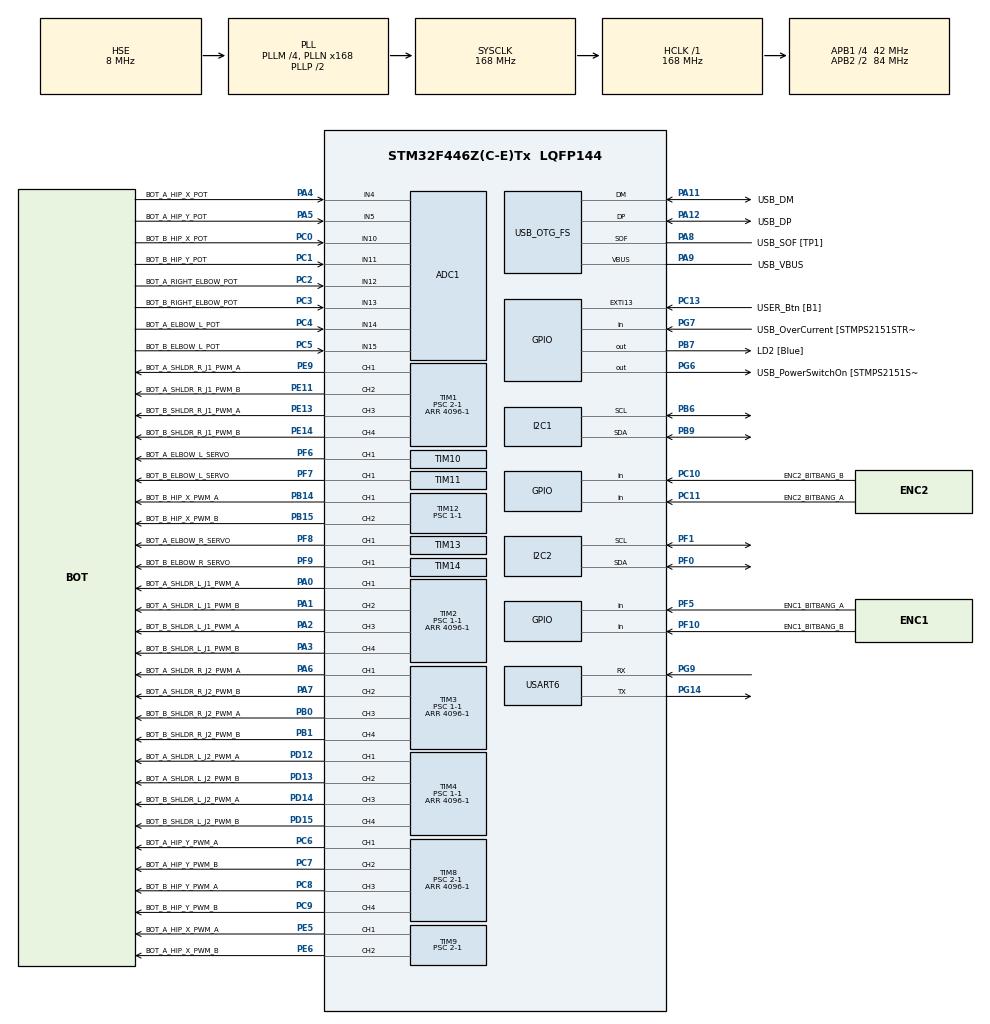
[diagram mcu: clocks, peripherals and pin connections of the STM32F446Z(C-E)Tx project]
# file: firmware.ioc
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ADC1.Channel-2\#ChannelRegularConversion=ADC_CHANNEL_10
ADC1.NbrOfConversion=1
ADC1.NbrOfConversionFlag=1
ADC1.Rank-2\#ChannelRegularConversion=1
ADC1.SamplingTime-2\#ChannelRegularConversion=ADC_SAMPLETIME_3CYCLES
ADC1.master=1
I2C1.I2C_Mode=I2C_Fast
I2C2.I2C_Mode=I2C_Fast
Mcu.Family=STM32F4
Mcu.Name=STM32F446Z(C-E)Tx
Mcu.Package=LQFP144
NVIC.OTG_FS_IRQn=true\:0\:0\:false\:false\:true\:false\:true
NVIC.PriorityGroup=NVIC_PRIORITYGROUP_4
PA0-WKUP.GPIO_Label=BOT_A_SHLDR_L_J1_PWM_A
PA0-WKUP.Signal=S_TIM2_CH1_ETR
PA1.GPIO_Label=BOT_A_SHLDR_L_J1_PWM_B
PA1.Signal=S_TIM2_CH2
PA10.GPIO_Label=USB_ID
PA10.Signal=USB_OTG_FS_ID
PA11.GPIO_Label=USB_DM
PA11.Mode=Device_Only
PA11.Signal=USB_OTG_FS_DM
PA12.GPIO_Label=USB_DP
PA12.Mode=Device_Only
PA12.Signal=USB_OTG_FS_DP
PA13.GPIO_Label=TMS
PA13.Mode=Serial_Wire
PA13.Signal=SYS_JTMS-SWDIO
PA14.GPIO_Label=TCK
PA14.Mode=Serial_Wire
PA14.Signal=SYS_JTCK-SWCLK
PA2.GPIO_Label=BOT_B_SHLDR_L_J1_PWM_A
PA2.Signal=S_TIM2_CH3
PA3.GPIO_Label=BOT_B_SHLDR_L_J1_PWM_B
PA3.Signal=S_TIM2_CH4
PA4.GPIO_Label=BOT_A_HIP_X_POT
PA4.Signal=ADCx_IN4
PA5.GPIO_Label=BOT_A_HIP_Y_POT
PA5.Signal=ADCx_IN5
PA6.GPIO_Label=BOT_A_SHLDR_R_J2_PWM_A
PA6.Signal=S_TIM3_CH1
PA7.GPIO_Label=BOT_A_SHLDR_R_J2_PWM_B
PA7.Signal=S_TIM3_CH2
PA8.GPIO_Label=USB_SOF [TP1]
PA8.Mode=Activate_SOF_FS
PA8.Signal=USB_OTG_FS_SOF
PA9.GPIO_Label=USB_VBUS
PA9.Mode=Activate_VBUS
PA9.Signal=USB_OTG_FS_VBUS
PB0.GPIO_Label=BOT_B_SHLDR_R_J2_PWM_A
PB0.Signal=S_TIM3_CH3
PB1.GPIO_Label=BOT_B_SHLDR_R_J2_PWM_B
PB1.Signal=S_TIM3_CH4
PB14.GPIO_Label=BOT_B_HIP_X_PWM_A
PB14.Signal=S_TIM12_CH1
PB15.GPIO_Label=BOT_B_HIP_X_PWM_B
PB15.Signal=S_TIM12_CH2
PB6.Mode=I2C
PB6.Signal=I2C1_SCL
PB7.GPIO_Label=LD2 [Blue]
PB7.Signal=GPIO_Output
PB9.Mode=I2C
PB9.Signal=I2C1_SDA
PC0.GPIO_Label=BOT_B_HIP_X_POT
PC0.Signal=ADCx_IN10
PC1.GPIO_Label=BOT_B_HIP_Y_POT
PC1.Signal=ADCx_IN11
PC10.GPIO_Label=ENC2_BITBANG_B
PC10.Signal=GPIO_Input
PC11.GPIO_Label=ENC2_BITBANG_A
PC11.Signal=GPIO_Input
PC13.GPIO_Label=USER_Btn [B1]
PC13.Signal=GPXTI13
PC14-OSC32_IN.Mode=LSE-External-Oscillator
PC14-OSC32_IN.Signal=RCC_OSC32_IN
PC15-OSC32_OUT.Mode=LSE-External-Oscillator
PC15-OSC32_OUT.Signal=RCC_OSC32_OUT
PC2.GPIO_Label=BOT_A_RIGHT_ELBOW_POT
PC2.Signal=ADCx_IN12
PC3.GPIO_Label=BOT_B_RIGHT_ELBOW_POT
PC3.Signal=ADCx_IN13
PC4.GPIO_Label=BOT_A_ELBOW_L_POT
PC4.Signal=ADCx_IN14
PC5.GPIO_Label=BOT_B_ELBOW_L_POT
PC5.Signal=ADCx_IN15
PC6.GPIO_Label=BOT_A_HIP_Y_PWM_A
PC6.Signal=S_TIM8_CH1
PC7.GPIO_Label=BOT_A_HIP_Y_PWM_B
PC7.Signal=S_TIM8_CH2
PC8.GPIO_Label=BOT_B_HIP_Y_PWM_A
PC8.Signal=S_TIM8_CH3
PC9.GPIO_Label=BOT_B_HIP_Y_PWM_B
PC9.Signal=S_TIM8_CH4
PD12.GPIO_Label=BOT_A_SHLDR_L_J2_PWM_A
PD12.Signal=S_TIM4_CH1
PD13.GPIO_Label=BOT_A_SHLDR_L_J2_PWM_B
PD13.Signal=S_TIM4_CH2
PD14.GPIO_Label=BOT_B_SHLDR_L_J2_PWM_A
PD14.Signal=S_TIM4_CH3
PD15.GPIO_Label=BOT_B_SHLDR_L_J2_PWM_B
PD15.Signal=S_TIM4_CH4
PE11.GPIO_Label=BOT_A_SHLDR_R_J1_PWM_B
PE11.Signal=S_TIM1_CH2
PE13.GPIO_Label=BOT_B_SHLDR_R_J1_PWM_A
PE13.Signal=S_TIM1_CH3
PE14.GPIO_Label=BOT_B_SHLDR_R_J1_PWM_B
PE14.Signal=S_TIM1_CH4
PE5.GPIO_Label=BOT_A_HIP_X_PWM_A
PE5.Signal=S_TIM9_CH1
PE6.GPIO_Label=BOT_A_HIP_X_PWM_B
PE6.Signal=S_TIM9_CH2
PE9.GPIO_Label=BOT_A_SHLDR_R_J1_PWM_A
PE9.Signal=S_TIM1_CH1
PF0.Mode=I2C
PF0.Signal=I2C2_SDA
PF1.Mode=I2C
PF1.Signal=I2C2_SCL
PF10.GPIO_Label=ENC1_BITBANG_B
PF10.Signal=GPIO_Input
PF5.GPIO_Label=ENC1_BITBANG_A
PF5.Signal=GPIO_Input
PF6.GPIO_Label=BOT_A_ELBOW_L_SERVO
PF6.Signal=S_TIM10_CH1
PF7.GPIO_Label=BOT_B_ELBOW_L_SERVO
PF7.Signal=S_TIM11_CH1
PF8.GPIO_Label=BOT_A_ELBOW_R_SERVO
PF8.Signal=S_TIM13_CH1
PF9.GPIO_Label=BOT_B_ELBOW_R_SERVO
PF9.Signal=S_TIM14_CH1
PG14.Mode=Asynchronous
PG14.Signal=USART6_TX
PG6.GPIO_Label=USB_PowerSwitchOn [STMPS2151STR_EN]
PG6.Signal=GPIO_Output
PG7.GPIO_Label=USB_OverCurrent [STMPS2151STR_FAULT]
PG7.Signal=GPIO_Input
PG9.Mode=Asynchronous
PG9.Signal=USART6_RX
PH0-OSC_IN.GPIO_Label=MCO [STM32F103CBT6_PA8]
PH0-OSC_IN.Mode=HSE-External-Clock-Source
PH0-OSC_IN.Signal=RCC_OSC_IN
PH1-OSC_OUT.Mode=HSE-External-Clock-Source
PH1-OSC_OUT.Signal=RCC_OSC_OUT
ProjectManager.HeapSize=0x200
ProjectManager.StackSize=0x400
ProjectManager.TargetToolchain=SW4STM32
RCC.48MHZClocksFreq_Value=24000000
RCC.AHBFreq_Value=168000000
RCC.APB1CLKDivider=RCC_HCLK_DIV4
RCC.APB1Freq_Value=42000000
RCC.APB1TimFreq_Value=84000000
RCC.APB2CLKDivider=RCC_HCLK_DIV2
RCC.APB2Freq_Value=84000000
RCC.APB2TimFreq_Value=168000000
RCC.CortexFreq_Value=168000000
RCC.HCLKFreq_Value=168000000
RCC.HSE_VALUE=8000000
RCC.HSI_VALUE=16000000
RCC.PLLM=4
RCC.PLLMUL=RCC_PLL_MUL9
RCC.PLLN=168
RCC.PLLQ=7
RCC.PRESCALERUSB=RCC_USBCLKSOURCE_PLL_DIV1_5
RCC.SYSCLKFreq_VALUE=168000000
RCC.SYSCLKSource=RCC_SYSCLKSOURCE_PLLCLK
RCC.SYSCLKSourceVirtual=RCC_SYSCLKSOURCE_PLLCLK
RCC.USBFreq_Value=48000000
RCC.VCOOutputFreq_Value=336000000
SH.ADCx_IN10.0=ADC1_IN10,IN10
SH.ADCx_IN11.0=ADC1_IN11,IN11
SH.ADCx_IN12.0=ADC1_IN12,IN12
SH.ADCx_IN13.0=ADC1_IN13,IN13
SH.ADCx_IN14.0=ADC1_IN14,IN14
SH.ADCx_IN15.0=ADC1_IN15,IN15
SH.ADCx_IN4.0=ADC1_IN4,IN4
SH.ADCx_IN5.0=ADC1_IN5,IN5
SH.S_TIM10_CH1.0=TIM10_CH1,PWM Generation1 CH1
SH.S_TIM11_CH1.0=TIM11_CH1,PWM Generation1 CH1
SH.S_TIM12_CH1.0=TIM12_CH1,PWM Generation1 CH1
SH.S_TIM12_CH2.0=TIM12_CH2,PWM Generation2 CH2
SH.S_TIM13_CH1.0=TIM13_CH1,PWM Generation1 CH1
SH.S_TIM14_CH1.0=TIM14_CH1,PWM Generation1 CH1
SH.S_TIM1_CH1.0=TIM1_CH1,PWM Generation1 CH1
SH.S_TIM1_CH2.0=TIM1_CH2,PWM Generation2 CH2
SH.S_TIM1_CH3.0=TIM1_CH3,PWM Generation3 CH3
SH.S_TIM1_CH4.0=TIM1_CH4,PWM Generation4 CH4
SH.S_TIM2_CH1_ETR.0=TIM2_CH1,PWM Generation1 CH1
SH.S_TIM2_CH2.0=TIM2_CH2,PWM Generation2 CH2
SH.S_TIM2_CH3.0=TIM2_CH3,PWM Generation3 CH3
SH.S_TIM2_CH4.0=TIM2_CH4,PWM Generation4 CH4
SH.S_TIM3_CH1.0=TIM3_CH1,PWM Generation1 CH1
SH.S_TIM3_CH2.0=TIM3_CH2,PWM Generation2 CH2
SH.S_TIM3_CH3.0=TIM3_CH3,PWM Generation3 CH3
SH.S_TIM3_CH4.0=TIM3_CH4,PWM Generation4 CH4
SH.S_TIM4_CH1.0=TIM4_CH1,PWM Generation1 CH1
SH.S_TIM4_CH2.0=TIM4_CH2,PWM Generation2 CH2
SH.S_TIM4_CH3.0=TIM4_CH3,PWM Generation3 CH3
SH.S_TIM4_CH4.0=TIM4_CH4,PWM Generation4 CH4
SH.S_TIM8_CH1.0=TIM8_CH1,PWM Generation1 CH1
SH.S_TIM8_CH2.0=TIM8_CH2,PWM Generation2 CH2
SH.S_TIM8_CH3.0=TIM8_CH3,PWM Generation3 CH3
SH.S_TIM8_CH4.0=TIM8_CH4,PWM Generation4 CH4
SH.S_TIM9_CH1.0=TIM9_CH1,PWM Generation1 CH1
SH.S_TIM9_CH2.0=TIM9_CH2,PWM Generation2 CH2
TIM1.Channel-PWM\ Generation1\ CH1=TIM_CHANNEL_1
TIM1.Channel-PWM\ Generation2\ CH2=TIM_CHANNEL_2
TIM1.Channel-PWM\ Generation3\ CH3=TIM_CHANNEL_3
TIM1.Channel-PWM\ Generation4\ CH4=TIM_CHANNEL_4
TIM1.Period=4096-1
TIM1.Prescaler=2-1
TIM10.Channel=TIM_CHANNEL_1
TIM10.Period=16384-1
TIM10.Prescaler=204-1
TIM11.Channel=TIM_CHANNEL_1
TIM11.Period=16384-1
TIM11.Prescaler=204-1
TIM12.Channel-PWM\ Generation1\ CH1=TIM_CHANNEL_1
TIM12.Channel-PWM\ Generation2\ CH2=TIM_CHANNEL_2
TIM12.Period=4096-1
TIM12.Prescaler=1-1
TIM13.Channel=TIM_CHANNEL_1
TIM13.Period=16384-1
TIM13.Prescaler=102-1
TIM14.Channel=TIM_CHANNEL_1
TIM14.Period=16384-1
TIM14.Prescaler=102-1
TIM2.Channel-PWM\ Generation1\ CH1=TIM_CHANNEL_1
TIM2.Channel-PWM\ Generation2\ CH2=TIM_CHANNEL_2
TIM2.Channel-PWM\ Generation3\ CH3=TIM_CHANNEL_3
TIM2.Channel-PWM\ Generation4\ CH4=TIM_CHANNEL_4
TIM2.Period=4096-1
TIM2.Prescaler=1-1
TIM3.Channel-PWM\ Generation1\ CH1=TIM_CHANNEL_1
TIM3.Channel-PWM\ Generation2\ CH2=TIM_CHANNEL_2
TIM3.Channel-PWM\ Generation3\ CH3=TIM_CHANNEL_3
TIM3.Channel-PWM\ Generation4\ CH4=TIM_CHANNEL_4
TIM3.Period=4096-1
TIM3.Prescaler=1-1
TIM4.Channel-PWM\ Generation1\ CH1=TIM_CHANNEL_1
TIM4.Channel-PWM\ Generation2\ CH2=TIM_CHANNEL_2
TIM4.Channel-PWM\ Generation3\ CH3=TIM_CHANNEL_3
TIM4.Channel-PWM\ Generation4\ CH4=TIM_CHANNEL_4
TIM4.Period=4096-1
TIM4.Prescaler=1-1
TIM8.Channel-PWM\ Generation1\ CH1=TIM_CHANNEL_1
TIM8.Channel-PWM\ Generation2\ CH2=TIM_CHANNEL_2
TIM8.Channel-PWM\ Generation3\ CH3=TIM_CHANNEL_3
TIM8.Channel-PWM\ Generation4\ CH4=TIM_CHANNEL_4
TIM8.Period=4096-1
TIM8.Prescaler=2-1
TIM9.Channel-PWM\ Generation1\ CH1=TIM_CHANNEL_1
TIM9.Channel-PWM\ Generation2\ CH2=TIM_CHANNEL_2
TIM9.Period=4096-1
TIM9.Prescaler=2-1
USART6.VirtualMode=VM_ASYNC
USB_DEVICE.CLASS_NAME_FS=CDC
USB_DEVICE.VirtualMode-CDC_FS=Cdc
USB_DEVICE.VirtualModeFS=Cdc_FS
USB_OTG_FS.VirtualMode=Device_Only
VP_TIM10_VS_ClockSourceINT.Mode=Enable_Timer
VP_TIM11_VS_ClockSourceINT.Mode=Enable_Timer
VP_TIM13_VS_ClockSourceINT.Mode=Enable_Timer
VP_TIM14_VS_ClockSourceINT.Mode=Enable_Timer
VP_USB_DEVICE_VS_USB_DEVICE_CDC_FS.Mode=CDC_FS
board=NUCLEO-F446ZE

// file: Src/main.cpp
/* USER CODE BEGIN Header */
/**
  ******************************************************************************
  * @file           : main.c
  * @brief          : Main program body
  ******************************************************************************
  * @attention
  *
  * <h2><center>&copy; Copyright (c) 2019 STMicroelectronics.
  * All rights reserved.</center></h2>
  *
  * This software component is licensed by ST under BSD 3-Clause license,
  * the "License"; You may not use this file except in compliance with the
  * License. You may obtain a copy of the License at:
  *                        opensource.org/licenses/BSD-3-Clause
  *
  ******************************************************************************
  */
/* USER CODE END Header */

#include "main.h"
#include "adc.h"
#include "i2c.h"
#include "tim.h"
#include "usart.h"
#include "usb_device.h"
#include "gpio.h"
#include "pindefs.h"
#include "drv8871.h"
#include "servo.h"
#include <math.h>
#include "PIDController.h"
#include "util.h"
//#include "CascadingPIDController.h"

/* USER CODE BEGIN PV */

namespace robotA::shoulder::R {
  namespace J1 {
    static __used drv8871 *const driver = new drv8871(
        pwm::A::pin,
        pwm::B::pin,
        pwm::timer,
        pwm::A::channel,
        pwm::B::channel,
        true
    );

    static __used auto *const pidcntl = new PIDController(
        0.38,
        0.1,
        1.0,
        0.0,
        .4,
        1.0
    );
  }
  namespace J2 {
    static __used drv8871 *const driver = new drv8871(
        pwm::A::pin,
        pwm::B::pin,
        pwm::timer,
        pwm::A::channel,
        pwm::B::channel,
        true
    );

    static __used auto *const pidcntl = new PIDController(
        0.65,
        0.1,
        0.5,
        0.0,
        0.5,
        1.0
    );
  }
}

/* USER CODE END PV */

extern "C" void SystemClock_Config(void);
/* USER CODE BEGIN PFP */

uint8_t addr = 0x35;

void writeByte(uint8_t reg, uint8_t byte) {
  uint8_t data[2] = {reg, byte};
  HAL_I2C_Master_Transmit(&hi2c1, addr << 1u, data, sizeof(data), 0xFFFF);
}

uint8_t readByte(uint8_t reg) {
  uint8_t cmd[1] = {reg};
  uint8_t rec;
  HAL_I2C_Master_Transmit(&hi2c1, addr << 1u, cmd, sizeof(cmd), 0xFFFF);
  HAL_I2C_Master_Receive(&hi2c1, addr << 1u, &rec, 1, 0xFFFF);
  return rec;
}

/* USER CODE END PFP */

/* USER CODE BEGIN 0 */

extern "C" PUTCHAR_PROTOTYPE {
  HAL_UART_Transmit(&huart6, (uint8_t *) &ch, 1, 0xFFFF);
  return ch;
}

extern "C" GETCHAR_PROTOTYPE {
  uint8_t ch;
  HAL_UART_Receive(&huart6, &ch, 1, 0xffff);
  return ch;
}

struct ENC_STATE {
  bool A;
  bool B;

};
inline bool operator==(const ENC_STATE &lhs, const ENC_STATE &rhs) {
  return (lhs.A == rhs.A) && (lhs.B == rhs.B);
}
inline bool operator!=(const ENC_STATE &lhs, const ENC_STATE &rhs) {
  return !(lhs == rhs);
}

static volatile int32_t enc1_count = 0;
static volatile int32_t enc2_count = 0;

static ENC_STATE enc1_state;
static ENC_STATE enc2_state;

__inline ENC_STATE getEnc1State() {
  return {
      HAL_GPIO_ReadPin(ENC1_BITBANG_A_GPIO_Port, ENC1_BITBANG_A_Pin) == GPIO_PIN_SET,
      HAL_GPIO_ReadPin(ENC1_BITBANG_B_GPIO_Port, ENC1_BITBANG_B_Pin) == GPIO_PIN_SET};
}
__inline ENC_STATE getEnc2State() {
  return {
      HAL_GPIO_ReadPin(ENC2_BITBANG_A_GPIO_Port, ENC2_BITBANG_A_Pin) == GPIO_PIN_SET,
      HAL_GPIO_ReadPin(ENC2_BITBANG_B_GPIO_Port, ENC2_BITBANG_B_Pin) == GPIO_PIN_SET};
}

enum pinstate { RISING, FALLING, HOLD };

// Bit-bang quadrature decoding given transitions and pin states
inline int8_t __hot quad_lut(pinstate A, pinstate B, bool pin_A, bool pin_B) {
  if (A != HOLD)
    switch (A) {
    case RISING:return pin_B ? -1 : 1;
    case FALLING:return pin_B ? 1 : -1;
    }
  if (B != HOLD)
    switch (B) {
    case RISING:return pin_A ? 1 : -1;
    case FALLING:return pin_A ? -1 : 1;
    }
}

void __hot chkEncState() {
  ENC_STATE new_1 = getEnc1State();
  ENC_STATE new_2 = getEnc2State();

  //printf("Enc 1 state: %du, %du\r\n", new_1.A, new_1.B);
  pinstate ATrans, BTrans;

  if (new_1 != enc1_state) {
    ATrans = (new_1.A > enc1_state.A) ? RISING : (new_1.A < enc1_state.A) ? FALLING : HOLD;
    BTrans = (new_1.B > enc1_state.B) ? RISING : (new_1.B < enc1_state.B) ? FALLING : HOLD;
    enc1_count += quad_lut(ATrans, BTrans, new_1.A, new_1.B);
  }

  if (new_2 != enc2_state) {
    ATrans = (new_2.A > enc2_state.A) ? RISING : (new_2.A < enc2_state.A) ? FALLING : HOLD;
    BTrans = (new_2.B > enc2_state.B) ? RISING : (new_2.B < enc2_state.B) ? FALLING : HOLD;
    enc2_count += quad_lut(ATrans, BTrans, new_2.A, new_2.B);
  }

  enc1_state = new_1;
  enc2_state = new_2;
}

bool en_systick = false;

static volatile int32_t old1_count;
static volatile int32_t old2_count;
static volatile int32_t new1_count;
static volatile int32_t new2_count;
static volatile bool print_count1_delta = false;
static volatile bool print_count2_delta = false;

__inline void update_encs() {
}

__inline float count_to_rads(const int32_t count) {
  return count * 0.039269908169872414f;
}

constexpr uint8_t uart_recv_buf_size = 128;
static char uart_recv_buf[uart_recv_buf_size];
static uint8_t uart_recv_buf_ptr = 0;

struct setpointnew { float j1;float j2; };

constexpr uint8_t pbufsize = 20;
static char buf1[pbufsize];
static char buf2[pbufsize];

__inline setpointnew parseBuffer() {
  uint8_t poundidx = 0;
  uint8_t commaidx = 0;
  uint8_t emarkidx = 0;

  printf("Buffer: %s\r\n", uart_recv_buf);

  for (uint8_t i = 0; i < pbufsize; i++) {
    buf1[i] = '\0';
    buf2[i] = '\0';
  }
  for (uint8_t i = 0; i < uart_recv_buf_size; i++) {
    if (uart_recv_buf[i] == ',')
      commaidx = i;
    else if ((commaidx != 0) && (uart_recv_buf[i] == '!')) {
      emarkidx = i;
      break;
    }
    if (i + 1 == uart_recv_buf_size) {
      printf("ERROR IN PARSE: OVERRUN\r\n");
      return {0.0, 0.0};
    }
  }

  if (commaidx == 0 || emarkidx == 0) {
    printf("ERROR IN PARSE: COMMA/EMARK NOT FOUND\r\n");
    return {0.0, 0.0};
  }

  uint8_t offset = 0;
  for (uint8_t i = poundidx + 1; i < commaidx; i++) {
    //printf("Storing buf[%d]=%c into buf1\r\n", i, uart_recv_buf[i]);
    buf1[offset] = uart_recv_buf[i];
    buf1[++offset] = '\0';
  }

  offset = 0;
  for (uint8_t i = commaidx + 1; i < emarkidx; i++) {
    //printf("Storing buf[%d]=%c into buf2\r\n", i, uart_recv_buf[i]);
    buf2[offset] = uart_recv_buf[i];
    buf2[++offset] = '\0';
  }

  printf("Found first float: %s, second float: %s\r\n", buf1, buf2);
  uint8_t i = 0;
  while (buf1[i] != '\0')
    printf("%c", buf1[i++]);
  printf("\r\n");
  i = 0;
  while (buf2[i] != '\0')
    printf("%c", buf2[i++]);
  printf("\r\n");

  for (uint8_t i = 0; i < uart_recv_buf_size; i++)
    uart_recv_buf[i] = '\0';

  uart_recv_buf_ptr = 0;

  float fl1 = atof(buf1);
  float fl2 = atof(buf2);
  printf("Decoding to %f, %f \r\n", fl1, fl2);
  return {fl1, fl2};
}

/* USER CODE END 0 */

int main(void) {

  /* MCU Configuration--------------------------------------------------------*/

  /* Reset of all peripherals, Initializes the Flash interface and the Systick. */
  HAL_Init();

  /* Configure the system clock */
  SystemClock_Config();

  /* Initialize all configured peripherals */
  MX_GPIO_Init();
  MX_ADC1_Init();
  MX_I2C1_Init();
  MX_I2C2_Init();
  MX_TIM1_Init();
  MX_TIM2_Init();
  MX_TIM3_Init();
  MX_TIM4_Init();
  MX_TIM8_Init();
  MX_TIM9_Init();
  MX_TIM10_Init();
  MX_TIM11_Init();
  MX_TIM12_Init();
  MX_TIM13_Init();
  MX_TIM14_Init();
  MX_USART6_UART_Init();
  MX_USB_DEVICE_Init();
  /* USER CODE BEGIN 2 */

  HAL_TIM_PWM_Start(&htim1, TIM_CHANNEL_1);
  HAL_TIM_PWM_Start(&htim1, TIM_CHANNEL_2);
  HAL_TIM_PWM_Start(&htim3, TIM_CHANNEL_1);
  HAL_TIM_PWM_Start(&htim3, TIM_CHANNEL_2);

  enc1_state = getEnc1State();
  enc2_state = getEnc2State();

  robotA::shoulder::R::J1::driver->set(0.0);
  robotA::shoulder::R::J2::driver->set(0.0);

  robotA::shoulder::R::J1::pidcntl->setSetpoint(0.0);
  robotA::shoulder::R::J2::pidcntl->setSetpoint(0.0);

  uint8_t cntr = 0;

  for (uint8_t i = 0; i < uart_recv_buf_size; i++)
    uart_recv_buf[i] = '\0';

  printf("User code started\r\n");

  /* USER CODE END 2 */

  /* Infinite loop */
  /* USER CODE BEGIN WHILE */

  while (1) {

    //int32_t old1_count_ = enc1_count;
    //int32_t old2_count_ = enc2_count;
    chkEncState();

    /*
    if (old1_count_ != enc1_count) {
      old1_count = old1_count_;
      printf("E1: %ld -> %ld\r\n", old1_count, new1_count);
    }

    if (old2_count_ != enc2_count) {
      old2_count = old2_count_;
      printf("E2: %ld -> %ld\r\n", old2_count, new2_count);
    }
     */

    //printf("E1: %ld, %s%s\r\n", enc1_count, enc1_state.A ? "1" : "0", enc1_state.B ? "1" : "0");

    // Max 531 transitions per second, good speed is ~1KHz
    cntr++;
    if (cntr == 10) {
      float enc1_rads = count_to_rads(enc1_count);
      float enc2_rads = count_to_rads(enc2_count);

      float j1_out = robotA::shoulder::R::J1::pidcntl->update(enc1_rads);
      float j2_out = robotA::shoulder::R::J2::pidcntl->update(enc2_rads);

      j1_out = clamp<float>(-0.50, j1_out, 0.50);
      j2_out = clamp<float>(-0.50, j2_out, 0.50);
      //printf("%f, %f\r\n", enc1_rads, enc2_rads);
      robotA::shoulder::R::J1::driver->set(j1_out);
      robotA::shoulder::R::J2::driver->set(j2_out);
      //robotA::shoulder::R::J1::driver->set(0.0);

      //robotA::shoulder::R::J2::driver->set(j2_out);
    }
    cntr = cntr % 10;

#define tuning
#undef tuning

#ifdef tuning
    if (HAL_GPIO_ReadPin(USER_Btn_GPIO_Port, USER_Btn_Pin) == GPIO_PIN_SET) {
      robotA::shoulder::R::J1::pidcntl->setSetpoint(0.0);
      robotA::shoulder::R::J2::pidcntl->setSetpoint(0.0);
    } else {
      robotA::shoulder::R::J1::pidcntl->setSetpoint(0.0f);
      robotA::shoulder::R::J2::pidcntl->setSetpoint(0.0f);
    }
#endif

    if (__HAL_UART_GET_FLAG(&huart6, UART_FLAG_RXNE)) {
      char ch = __io_getchar();
      if ((uart_recv_buf_ptr == 0 && ch == '#') || (uart_recv_buf_ptr > 0)) {
        uart_recv_buf[uart_recv_buf_ptr++] = ch;
      }
      if (ch == '!') {
        setpointnew setpoints = parseBuffer();
#ifndef tuning
        //robotA::shoulder::R::J1::pidcntl->setSetpoint(setpoints.j1);
        robotA::shoulder::R::J1::pidcntl->setSetpoint(0.0);
        robotA::shoulder::R::J2::pidcntl->setSetpoint(
            clamp<float>(-1, setpoints.j2, 1)
        );
#endif
      }
    }

    //HAL_Delay(1);

    /* USER CODE END WHILE */

  }
}

extern "C" {

void SystemClock_Config(void) {
  RCC_OscInitTypeDef RCC_OscInitStruct = {0};
  RCC_ClkInitTypeDef RCC_ClkInitStruct = {0};
  RCC_PeriphCLKInitTypeDef PeriphClkInitStruct = {0};

  /** Configure the main internal regulator output voltage
  */
  __HAL_RCC_PWR_CLK_ENABLE();
  __HAL_PWR_VOLTAGESCALING_CONFIG(PWR_REGULATOR_VOLTAGE_SCALE1);
  /** Initializes the CPU, AHB and APB busses clocks
  */
  RCC_OscInitStruct.OscillatorType = RCC_OSCILLATORTYPE_HSE;
  RCC_OscInitStruct.HSEState = RCC_HSE_BYPASS;
  RCC_OscInitStruct.PLL.PLLState = RCC_PLL_ON;
  RCC_OscInitStruct.PLL.PLLSource = RCC_PLLSOURCE_HSE;
  RCC_OscInitStruct.PLL.PLLM = 4;
  RCC_OscInitStruct.PLL.PLLN = 168;
  RCC_OscInitStruct.PLL.PLLP = RCC_PLLP_DIV2;
  RCC_OscInitStruct.PLL.PLLQ = 7;
  RCC_OscInitStruct.PLL.PLLR = 2;
  if (HAL_RCC_OscConfig(&RCC_OscInitStruct) != HAL_OK) {
    Error_Handler();
  }
  /** Initializes the CPU, AHB and APB busses clocks
  */
  RCC_ClkInitStruct.ClockType = RCC_CLOCKTYPE_HCLK | RCC_CLOCKTYPE_SYSCLK
      | RCC_CLOCKTYPE_PCLK1 | RCC_CLOCKTYPE_PCLK2;
  RCC_ClkInitStruct.SYSCLKSource = RCC_SYSCLKSOURCE_PLLCLK;
  RCC_ClkInitStruct.AHBCLKDivider = RCC_SYSCLK_DIV1;
  RCC_ClkInitStruct.APB1CLKDivider = RCC_HCLK_DIV4;
  RCC_ClkInitStruct.APB2CLKDivider = RCC_HCLK_DIV2;

  if (HAL_RCC_ClockConfig(&RCC_ClkInitStruct, FLASH_LATENCY_5) != HAL_OK) {
    Error_Handler();
  }
  PeriphClkInitStruct.PeriphClockSelection = RCC_PERIPHCLK_CLK48;
  PeriphClkInitStruct.Clk48ClockSelection = RCC_CLK48CLKSOURCE_PLLQ;
  if (HAL_RCCEx_PeriphCLKConfig(&PeriphClkInitStruct) != HAL_OK) {
    Error_Handler();
  }
}
}

void Error_Handler(void) {
}

/************************ (C) COPYRIGHT STMicroelectronics *****END OF FILE****/
